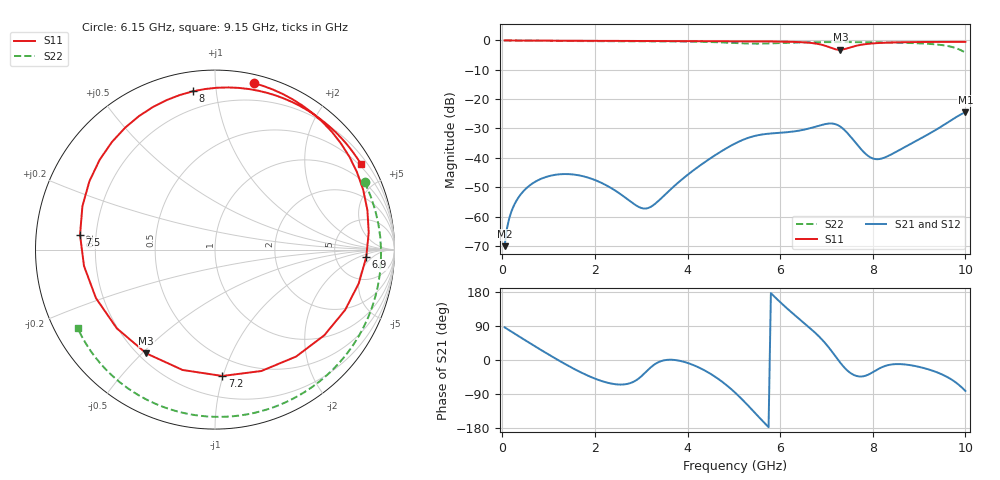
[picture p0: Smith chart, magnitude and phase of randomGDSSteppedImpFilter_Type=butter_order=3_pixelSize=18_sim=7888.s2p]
! freq	dB(S11)	phase(S11)	dB(S12)	phase(S12)
!  dB(S21)	phase(S21)	dB(S22)	phase(S22)
!S-par simulation data
#  GHz  S  DB  R 50
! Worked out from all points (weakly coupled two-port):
!   200 points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, 50 MHz to 10 GHz, reference 50 ohm
!   highest |S21| = -24.49 dB at 10 GHz (marker M1); lowest = -70.1 dB at 50 MHz (marker M2)
!   lowest |S11| = -3.2 dB at 7.3 GHz (marker M3), VSWR 5.52, Z = 11.6 - j25.7 ohm
!   |S11| at or under -10 dB: nowhere
!   |S22| runs from -4.1 to 0.0 dB; largest |S21 - S12| = 0
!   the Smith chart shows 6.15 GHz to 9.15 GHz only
!   S11 on the Smith chart (normalised r, x): 6.15 GHz: 0.06, +1.26; 6.9 GHz: 11, -3; 7.2 GHz: 0.35, -0.99; 7.5 GHz: 0.14, +0.05; 8 GHz: 0.10, +0.86; 9.15 GHz: 0.43, +3.64
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0.05  -0.00 -2.9  -70.10 86.1  -70.10 86.1  -0.00 -4.8
0.3  -0.02 -17.5  -54.75 66.8  -54.75 66.8  -0.04 -28.9
0.95  -0.07 -53.9  -46.49 18.2  -46.49 18.2  -0.13 -93.0
1.75  -0.11 -94.7  -46.29 -35.8  -46.29 -35.8  -0.23 -178.3
2.55  -0.14 -130.5  -52.33 -64.8  -52.33 -64.8  -0.28 95.0
3.4  -0.17 -164.7  -54.26 -4.2  -54.26 -4.2  -0.30 13.2
3.9  -0.19 176.1  -47.08 -4.1  -47.08 -4.1  -0.36 -31.3
4.4  -0.21 156.9  -41.17 -29.6  -41.17 -29.6  -0.49 -79.0
5.05  -0.25 131.0  -34.93 -88.7  -34.93 -88.7  -0.89 -162.9
5.3  -0.27 120.3  -33.24 -119.2  -33.24 -119.2  -1.05 154.5
5.6  -0.31 106.7  -32.07 -158.3  -32.07 -158.3  -1.06 101.2
6.15  -0.42 76.8  -31.27 136.0  -31.27 136.0  -0.78 24.2
6.7  -0.90 28.6  -29.68 78.3  -29.68 78.3  -0.60 -23.7
6.9  -1.48 -2.9  -28.79 54.4  -28.79 54.4  -0.58 -36.9
7.2  -3.03 -86.7  -28.56 8.8  -28.56 8.8  -0.56 -54.2
7.3  -3.18 -123.5  -29.36 -7.4  -29.36 -7.4  -0.56 -59.4
7.5  -2.42 173.7  -32.40 -32.7  -32.40 -32.7  -0.57 -69.5
8  -1.01 98.0  -40.22 -32.3  -40.22 -32.3  -0.62 -92.7
8.35  -0.72 71.4  -39.23 -13.0  -39.23 -13.0  -0.70 -108.5
9.15  -0.52 30.4  -32.40 -22.9  -32.40 -22.9  -1.10 -150.2
9.65  -0.49 10.2  -27.64 -47.7  -27.64 -47.7  -1.99 166.3
10  -0.49 -2.4  -24.49 -81.6  -24.49 -81.6  -4.15 102.7
